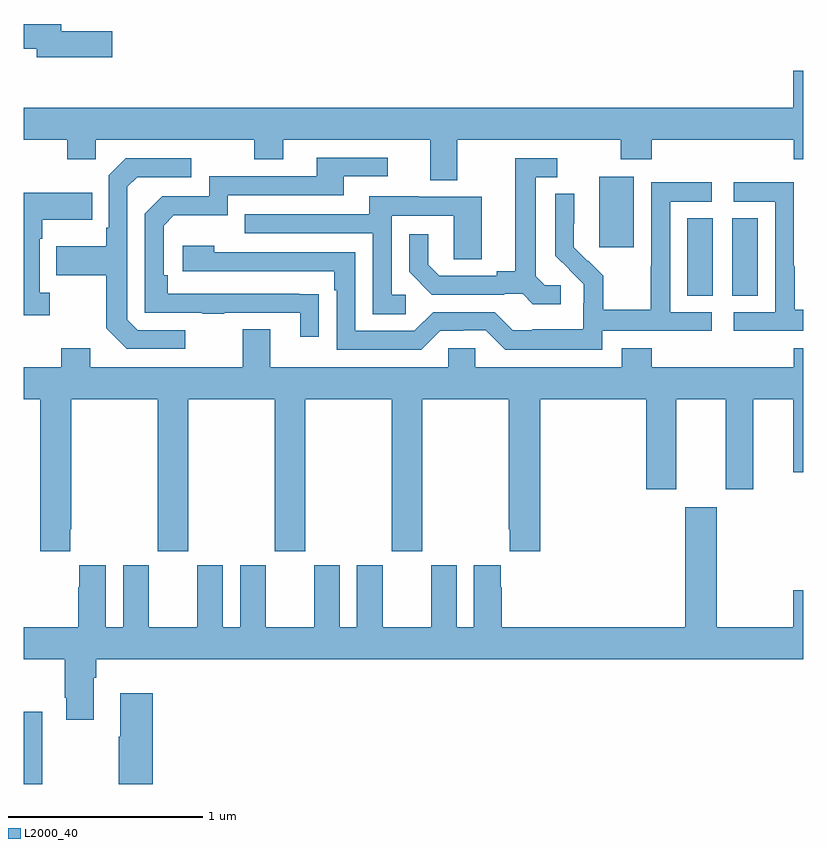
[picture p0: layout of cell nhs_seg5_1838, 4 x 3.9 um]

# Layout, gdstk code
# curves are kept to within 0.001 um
import gdstk
lib = gdstk.Library(unit=1e-6, precision=1e-09)
def R(c, l, rs):  # rectangles x0, y0, x1, y1
    for r in rs: c.add(gdstk.rectangle(r[:2], r[2:], *l))
def P(c, l, *ps):  # polygons
    for p in ps: c.add(gdstk.Polygon(p, *l))
L2000_40 = (2000, 40)

nhs_seg5_1838 = lib.new_cell('nhs_seg5_1838')
R(nhs_seg5_1838, L2000_40, [(221,842.799,221.095,843.169), (224.405,845.305,224.536,845.702), (224.636,845.305,224.767,845.702), (223.952,845.553,224.131,845.914)])
P(nhs_seg5_1838, L2000_40, [(221.455,846.662),(221.194,846.662),(221.194,846.698),(221,846.698),(221,846.57),(221.066,846.57),(221.066,846.527),(221.455,846.527)],
  [(221,846.104),(221.224,846.104),(221.224,846.005),(221.37,846.005),(221.37,846.104),(222.184,846.104),(222.184,846.005),(222.331,846.005),(222.331,846.104),(223.085,846.104),(223.085,845.896),(223.225,845.896),(223.225,846.104),(224.062,846.104),(224.062,846.005),(224.222,846.005),(224.222,846.104),(224.951,846.104),(224.951,846.005),(225,846.005),(225,846.457),(224.948,846.457),(224.948,846.268),(221,846.268)],
  [(222.515,845.312),(221.738,845.313),(221.738,845.41),(221.718,845.41),(221.718,845.664),(221.771,845.717),(222.048,845.717),(222.048,845.82),(222.643,845.82),(222.643,845.916),(222.868,845.916),(222.868,846.012),(222.503,846.012),(222.503,845.916),(221.952,845.916),(221.952,845.814),(221.712,845.814),(221.622,845.724),(221.622,845.217),(221.917,845.217),(221.917,845.212),(222.029,845.212),(222.029,845.217),(222.419,845.217),(222.419,845.094),(222.515,845.094)],
  [(221.83,845.127),(221.586,845.127),(221.532,845.181),(221.532,845.862),(221.583,845.913),(221.86,845.913),(221.86,846.009),(221.523,846.009),(221.436,845.922),(221.436,845.653),(221.424,845.653),(221.424,845.557),(221.167,845.557),(221.167,845.41),(221.424,845.41),(221.424,845.137),(221.529,845.031),(221.83,845.031)],
  [(223.756,845.358),(223.674,845.358),(223.627,845.405),(223.627,845.913),(223.738,845.913),(223.738,846.009),(223.523,846.009),(223.523,845.429),(223.427,845.429),(223.427,845.406),(223.132,845.406),(223.075,845.463),(223.075,845.62),(222.978,845.62),(222.978,845.426),(223.094,845.31),(223.466,845.31),(223.466,845.313),(223.56,845.313),(223.612,845.261),(223.756,845.261)],
  [(225,845.233),(224.955,845.233),(224.955,845.456),(224.952,845.456),(224.952,845.886),(224.643,845.886),(224.643,845.787),(224.856,845.787),(224.856,845.22),(224.643,845.22),(224.643,845.124),(225,845.124)],
  [(223.968,845.124),(224.53,845.124),(224.53,845.22),(224.316,845.22),(224.316,845.787),(224.53,845.787),(224.53,845.886),(224.22,845.886),(224.22,845.456),(224.218,845.456),(224.218,845.233),(223.973,845.233),(223.973,845.407),(223.896,845.484),(223.893,845.481),(223.823,845.552),(223.824,845.828),(223.728,845.828),(223.728,845.51),(223.874,845.362),(223.874,845.265),(223.872,845.265),(223.872,845.131),(223.609,845.131),(223.609,845.127),(223.509,845.127),(223.416,845.22),(223.101,845.22),(223.005,845.124),(222.702,845.124),(222.702,845.526),(221.978,845.526),(221.978,845.56),(221.817,845.56),(221.817,845.43),(222.593,845.43),(222.593,845.333),(222.606,845.333),(222.606,845.028),(223.041,845.028),(223.137,845.124),(223.256,845.124),(223.256,845.127),(223.371,845.127),(223.471,845.027),(223.968,845.027)],
  [(221.134,845.318),(221.082,845.318),(221.082,845.597),(221.095,845.597),(221.095,845.693),(221.351,845.693),(221.351,845.833),(221,845.833),(221,845.205),(221.134,845.205)],
  [(222.961,845.31),(222.888,845.31),(222.888,845.715),(223.206,845.715),(223.206,845.491),(223.351,845.491),(223.351,845.811),(223.027,845.811),(223.027,845.815),(222.773,845.815),(222.773,845.721),(222.133,845.721),(222.133,845.625),(222.792,845.625),(222.792,845.209),(222.961,845.209)],
  [(221.239,844.105),(221.244,844.105),(221.244,844.772),(221.689,844.772),(221.689,843.993),(221.844,843.993),(221.844,844.772),(222.289,844.772),(222.289,843.993),(222.444,843.993),(222.444,844.772),(222.889,844.772),(222.889,843.993),(223.044,843.993),(223.044,844.772),(223.489,844.772),(223.489,844.105),(223.493,844.105),(223.493,843.993),(223.649,843.993),(223.649,844.772),(224.195,844.772),(224.195,844.311),(224.347,844.311),(224.347,844.772),(224.603,844.772),(224.603,844.311),(224.743,844.311),(224.743,844.772),(224.948,844.772),(224.948,844.398),(225,844.398),(225,845.035),(224.951,845.035),(224.951,844.936),(224.222,844.936),(224.222,845.035),(224.069,845.035),(224.069,844.936),(223.317,844.936),(223.317,845.034),(223.179,845.034),(223.179,844.936),(222.265,844.936),(222.265,845.131),(222.125,845.131),(222.125,844.936),(221.341,844.936),(221.341,845.035),(221.194,845.035),(221.194,844.936),(221,844.936),(221,844.772),(221.084,844.772),(221.084,843.993),(221.239,843.993)],
  [(221.359,843.344),(221.372,843.344),(221.372,843.44),(225,843.44),(225,843.793),(224.948,843.793),(224.948,843.604),(224.557,843.604),(224.557,844.219),(224.393,844.219),(224.393,843.604),(223.454,843.604),(223.454,843.809),(223.447,843.809),(223.447,843.922),(223.31,843.922),(223.31,843.604),(223.222,843.604),(223.222,843.922),(223.091,843.922),(223.091,843.604),(222.841,843.604),(222.841,843.922),(222.71,843.922),(222.71,843.604),(222.622,843.604),(222.622,843.922),(222.491,843.922),(222.491,843.604),(222.241,843.604),(222.241,843.922),(222.11,843.922),(222.11,843.604),(222.022,843.604),(222.022,843.922),(221.891,843.922),(221.891,843.604),(221.641,843.604),(221.641,843.922),(221.51,843.922),(221.51,843.604),(221.422,843.604),(221.422,843.922),(221.285,843.922),(221.285,843.809),(221.279,843.809),(221.279,843.604),(221,843.604),(221,843.44),(221.212,843.44),(221.212,843.241),(221.219,843.241),(221.219,843.129),(221.359,843.129)],
  [(221.663,843.265),(221.495,843.265),(221.495,843.041),(221.488,843.041),(221.488,842.799),(221.663,842.799)])

lib.write_gds('nhs_seg5_1838.gds')
